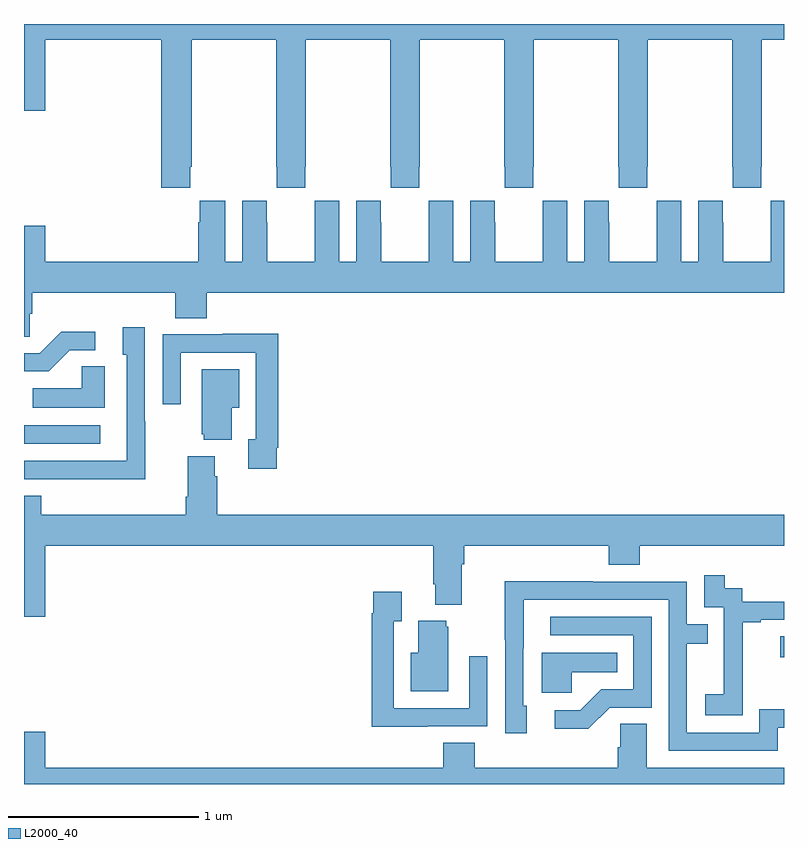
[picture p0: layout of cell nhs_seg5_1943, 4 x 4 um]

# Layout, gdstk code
import gdstk
lib = gdstk.Library(unit=1e-6, precision=1e-09)
def R(c, l, rs):  # rectangles x0, y0, x1, y1
    for r in rs: c.add(gdstk.rectangle(r[:2], r[2:], *l))
def P(c, l, *ps):  # polygons
    for p in ps: c.add(gdstk.Polygon(p, *l))
L2000_40 = (2000, 40)

nhs_seg5_1943 = lib.new_cell('nhs_seg5_1943')
R(nhs_seg5_1943, L2000_40, [(228.981,897.467,229,897.577), (225,898.59,225.4,898.686)])
P(nhs_seg5_1943, L2000_40, [(225.875,900.049),(225.882,900.049),(225.882,900.716),(226.327,900.716),(226.327,900.049),(226.329,900.049),(226.329,899.937),(226.479,899.937),(226.479,900.049),(226.482,900.049),(226.482,900.716),(226.927,900.716),(226.927,900.049),(226.929,900.049),(226.929,899.937),(227.079,899.937),(227.079,900.049),(227.082,900.049),(227.082,900.716),(227.527,900.716),(227.527,900.049),(227.529,900.049),(227.529,899.937),(227.679,899.937),(227.679,900.049),(227.682,900.049),(227.682,900.716),(228.127,900.716),(228.127,900.049),(228.129,900.049),(228.129,899.937),(228.279,899.937),(228.279,900.049),(228.282,900.049),(228.282,900.716),(228.727,900.716),(228.727,900.049),(228.729,900.049),(228.729,899.937),(228.879,899.937),(228.879,900.049),(228.882,900.049),(228.882,900.716),(229,900.716),(229,900.799),(225,900.799),(225,900.342),(225.112,900.342),(225.112,900.716),(225.722,900.716),(225.722,899.937),(225.875,899.937)],
  [(229,899.869),(228.93,899.869),(228.93,899.756),(228.929,899.756),(228.929,899.548),(228.679,899.548),(228.679,899.756),(228.678,899.756),(228.678,899.869),(228.548,899.869),(228.548,899.548),(228.46,899.548),(228.46,899.869),(228.33,899.869),(228.33,899.756),(228.329,899.756),(228.329,899.548),(228.079,899.548),(228.079,899.756),(228.078,899.756),(228.078,899.869),(227.948,899.869),(227.948,899.548),(227.86,899.548),(227.86,899.869),(227.73,899.869),(227.73,899.756),(227.729,899.756),(227.729,899.548),(227.479,899.548),(227.479,899.756),(227.478,899.756),(227.478,899.869),(227.348,899.869),(227.348,899.548),(227.26,899.548),(227.26,899.869),(227.13,899.869),(227.13,899.756),(227.129,899.756),(227.129,899.548),(226.879,899.548),(226.879,899.756),(226.878,899.756),(226.878,899.869),(226.748,899.869),(226.748,899.548),(226.66,899.548),(226.66,899.869),(226.53,899.869),(226.53,899.756),(226.529,899.756),(226.529,899.548),(226.279,899.548),(226.279,899.756),(226.278,899.756),(226.278,899.869),(226.148,899.869),(226.148,899.548),(226.06,899.548),(226.06,899.869),(225.926,899.869),(225.926,899.756),(225.917,899.756),(225.917,899.548),(225.112,899.548),(225.112,899.737),(225,899.737),(225,899.152),(225.03,899.152),(225.03,899.275),(225.044,899.275),(225.044,899.384),(225.797,899.384),(225.797,899.251),(225.962,899.251),(225.962,899.384),(229,899.384)],
  [(225.639,898.709),(225.636,898.709),(225.636,899.203),(225.521,899.203),(225.521,899.058),(225.54,899.058),(225.54,898.5),(225,898.5),(225,898.404),(225.175,898.404),(225.175,898.403),(225.639,898.403)],
  [(225.241,899.082),(225.376,899.082),(225.376,899.18),(225.197,899.18),(225.084,899.067),(225,899.067),(225,898.971),(225.13,898.971)],
  [(226.33,898.57),(226.337,898.57),(226.337,899.168),(226.045,899.168),(226.045,899.166),(225.729,899.166),(225.729,898.797),(225.825,898.797),(225.825,899.07),(226.221,899.07),(226.221,898.614),(226.181,898.614),(226.181,898.458),(226.33,898.458)],
  [(225.424,898.997),(225.303,898.997),(225.303,898.882),(225.046,898.882),(225.046,898.778),(225.424,898.778)],
  [(226.093,898.778),(226.132,898.778),(226.132,898.981),(225.935,898.981),(225.935,898.641),(225.947,898.641),(225.947,898.61),(226.093,898.61)],
  [(225.112,898.052),(227.153,898.052),(227.153,897.85),(227.165,897.85),(227.165,897.743),(227.305,897.743),(227.305,897.956),(227.318,897.956),(227.318,898.052),(228.077,898.052),(228.077,897.953),(228.242,897.953),(228.242,898.052),(229,898.052),(229,898.216),(226.016,898.216),(226.016,898.418),(226.003,898.418),(226.003,898.525),(225.863,898.525),(225.863,898.312),(225.851,898.312),(225.851,898.216),(225.092,898.216),(225.092,898.315),(225,898.315),(225,897.678),(225.112,897.678)],
  [(228.783,897.367),(228.782,897.367),(228.782,897.651),(228.877,897.651),(228.877,897.663),(229,897.663),(229,897.759),(228.78,897.759),(228.78,897.828),(228.688,897.828),(228.688,897.898),(228.579,897.898),(228.579,897.729),(228.684,897.729),(228.684,897.5),(228.683,897.5),(228.683,897.271),(228.585,897.271),(228.585,897.161),(228.783,897.161)],
  [(228.967,897.096),(229,897.096),(229,897.192),(228.87,897.192),(228.87,897.069),(228.489,897.069),(228.489,897.538),(228.599,897.538),(228.599,897.639),(228.489,897.639),(228.489,897.864),(227.993,897.864),(227.993,897.866),(227.53,897.866),(227.53,897.559),(227.532,897.559),(227.532,897.066),(227.647,897.066),(227.647,897.21),(227.628,897.21),(227.628,897.514),(227.629,897.514),(227.629,897.768),(228.393,897.768),(228.393,896.973),(228.967,896.973)],
  [(227.123,897.102),(227.439,897.102),(227.439,897.472),(227.343,897.472),(227.343,897.198),(226.947,897.198),(226.947,897.655),(226.987,897.655),(226.987,897.811),(226.839,897.811),(226.839,897.698),(226.831,897.698),(226.831,897.101),(227.123,897.101)],
  [(228.084,897.201),(228.303,897.201),(228.303,897.678),(227.769,897.678),(227.769,897.582),(228.207,897.582),(228.207,897.297),(228.038,897.297),(227.927,897.186),(227.793,897.186),(227.793,897.089),(227.971,897.089)],
  [(227.233,897.627),(227.222,897.627),(227.222,897.658),(227.075,897.658),(227.075,897.49),(227.036,897.49),(227.036,897.287),(227.233,897.287)],
  [(227.883,897.386),(228.122,897.386),(228.122,897.49),(227.726,897.49),(227.726,897.278),(227.883,897.278)],
  [(225.112,897.073),(225,897.073),(225,896.799),(229,896.799),(229,896.884),(228.277,896.884),(228.277,897.116),(228.138,897.116),(228.138,896.993),(228.125,896.993),(228.125,896.884),(227.372,896.884),(227.372,897.017),(227.207,897.017),(227.207,896.884),(225.112,896.884)])

lib.write_gds('nhs_seg5_1943.gds')
